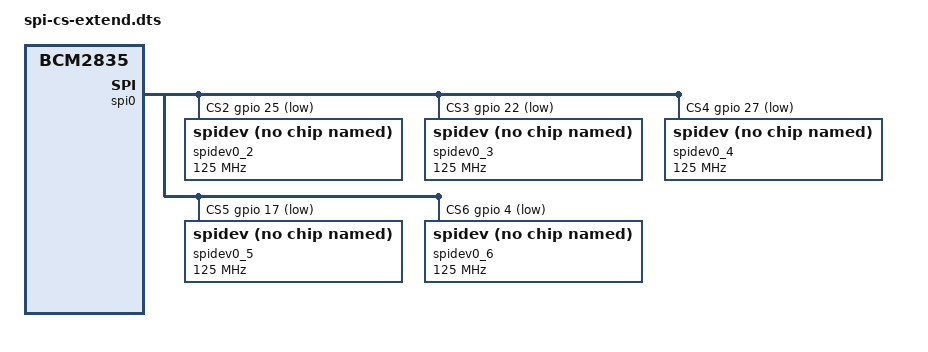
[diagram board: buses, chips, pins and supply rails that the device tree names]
/dts-v1/;
/plugin/;


/ {
	compatible = "brcm,bcm2835";

	fragment@0 {
		target = <&spi0_cs_pins>;
		frag0: __overlay__ {
			brcm,pins = <8 7 25 22 27 17 4>;
		};
	};

	fragment@1 {
		target = <&spi0>;
		frag1: __overlay__ {
			#address-cells = <1>;
			#size-cells = <0>;

			cs-gpios = <&gpio 8 1>, <&gpio 7 1>, <&gpio 25 1>, <&gpio 22 1>, <&gpio 27 1>, <&gpio 17 1>, <&gpio 4 1>;
			status = "okay";

			spidev0_2: spidev@2 {
				compatible = "spidev";
				reg = <2>;
				#address-cells = <1>;
				#size-cells = <0>;
				spi-max-frequency = <125000000>;
			};

			spidev0_3: spidev@3 {
				compatible = "spidev";
				reg = <3>;
				#address-cells = <1>;
				#size-cells = <0>;
				spi-max-frequency = <125000000>;
			};

			spidev0_4: spidev@4 {
				compatible = "spidev";
				reg = <4>;
				#address-cells = <1>;
				#size-cells = <0>;
				spi-max-frequency = <125000000>;
			};
			spidev0_5: spidev@5 {
				compatible = "spidev";
				reg = <5>;
				#address-cells = <1>;
				#size-cells = <0>;
				spi-max-frequency = <125000000>;
			};
			spidev0_6: spidev@6 {
				compatible = "spidev";
				reg = <6>;
				#address-cells = <1>;
				#size-cells = <0>;
				spi-max-frequency = <125000000>;
			};
		};
	};
};
